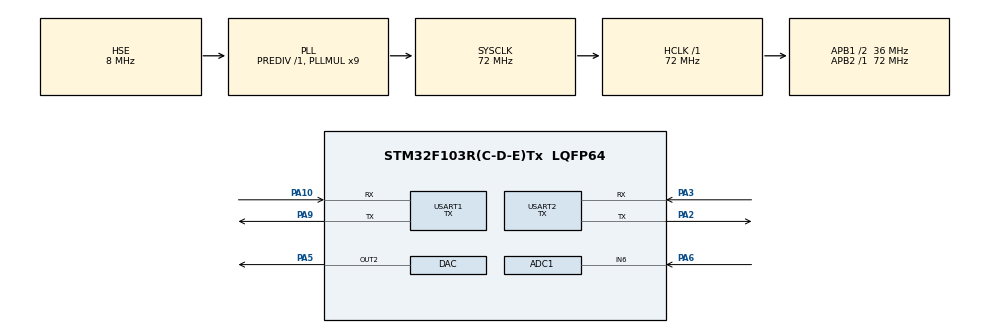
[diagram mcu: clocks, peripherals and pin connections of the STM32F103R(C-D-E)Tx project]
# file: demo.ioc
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ADC1.Channel-0\#ChannelRegularConversion=ADC_CHANNEL_6
ADC1.ContinuousConvMode=DISABLE
ADC1.NbrOfConversionFlag=1
ADC1.Rank-0\#ChannelRegularConversion=1
ADC1.SamplingTime-0\#ChannelRegularConversion=ADC_SAMPLETIME_55CYCLES_5
ADC1.master=1
DAC.DAC_Trigger2=DAC_TRIGGER_NONE
Mcu.Family=STM32F1
Mcu.Name=STM32F103R(C-D-E)Tx
Mcu.Package=LQFP64
NVIC.PriorityGroup=NVIC_PRIORITYGROUP_4
NVIC.USART1_IRQn=true\:0\:0\:false\:false\:true\:true\:true\:true
PA10.Mode=Asynchronous
PA10.Signal=USART1_RX
PA13.Mode=Serial_Wire
PA13.Signal=SYS_JTMS-SWDIO
PA14.Mode=Serial_Wire
PA14.Signal=SYS_JTCK-SWCLK
PA2.Mode=Asynchronous
PA2.Signal=USART2_TX
PA3.Mode=Asynchronous
PA3.Signal=USART2_RX
PA5.Signal=COMP_DAC2_group
PA6.Signal=ADCx_IN6
PA9.Mode=Asynchronous
PA9.Signal=USART1_TX
PD0-OSC_IN.Mode=HSE-External-Oscillator
PD0-OSC_IN.Signal=RCC_OSC_IN
PD1-OSC_OUT.Mode=HSE-External-Oscillator
PD1-OSC_OUT.Signal=RCC_OSC_OUT
ProjectManager.HeapSize=0x600
ProjectManager.StackSize=0x600
ProjectManager.TargetToolchain=MDK-ARM V5
RCC.ADCPresc=RCC_ADCPCLK2_DIV6
RCC.AHBFreq_Value=72000000
RCC.APB1CLKDivider=RCC_HCLK_DIV2
RCC.APB1Freq_Value=36000000
RCC.APB1TimFreq_Value=72000000
RCC.APB2Freq_Value=72000000
RCC.APB2TimFreq_Value=72000000
RCC.HCLKFreq_Value=72000000
RCC.PLLMUL=RCC_PLL_MUL9
RCC.PLLSourceVirtual=RCC_PLLSOURCE_HSE
RCC.SYSCLKFreq_VALUE=72000000
RCC.SYSCLKSource=RCC_SYSCLKSOURCE_PLLCLK
RCC.USBFreq_Value=72000000
SH.ADCx_IN6.0=ADC1_IN6,IN6
SH.COMP_DAC2_group.0=DAC_OUT2,DAC_OUT2
USART1.Mode=MODE_TX
USART1.VirtualMode=VM_ASYNC
USART2.Mode=MODE_TX
USART2.VirtualMode=VM_ASYNC
board=custom

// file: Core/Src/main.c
/* USER CODE BEGIN Header */
/**
 ******************************************************************************
 * @file           : main.c
 * @brief          : Main program body
 ******************************************************************************
 * @attention
 *
 * <h2><center>&copy; Copyright (c) 2022 STMicroelectronics.
 * All rights reserved.</center></h2>
 *
 * This software component is licensed by ST under BSD 3-Clause license,
 * the "License"; You may not use this file except in compliance with the
 * License. You may obtain a copy of the License at:
 *                        opensource.org/licenses/BSD-3-Clause
 *
 ******************************************************************************
 */
/* USER CODE END Header */
#include "main.h"
#include "adc.h"
#include "dac.h"
#include "gpio.h"
#include "usart.h"

/* USER CODE BEGIN Includes */
#include "arm_math.h"
#include "stdlib.h"
/* USER CODE END Includes */

void SystemClock_Config(void);

/* USER CODE BEGIN 0 */

#define F_COUNT 512
#define M 16

// 卡尔曼滤波
typedef struct KalmanFilter {
    float x_mea;  // 测量值
    float x_est;  // 估计值
    float e_mea;  // 测量偏差
    float e_est;  // 估计偏差
    float Kk;     // 增益
} KalmanFilter;

#define Kk_calc(x, y) (x) / (x + y)

// 初始化卡尔曼滤波器
void Kalman_Init(KalmanFilter* kalmanFilter, float FirstMeaValue, float E_mea, float FirstEstValue, float E_est) {
    kalmanFilter->x_est = FirstEstValue;
    kalmanFilter->x_mea = FirstMeaValue;
    kalmanFilter->e_est = E_est;
    kalmanFilter->e_mea = E_mea;
    kalmanFilter->Kk    = Kk_calc(kalmanFilter->e_est, kalmanFilter->e_mea);
}

// 更新卡尔曼滤波器
void Kalman_Update(KalmanFilter* kalmanFilter, float newMeaValue) {
    float temp          = kalmanFilter->e_est;
    kalmanFilter->x_est = kalmanFilter->x_est + kalmanFilter->Kk * (newMeaValue - kalmanFilter->x_est);
    kalmanFilter->x_mea = newMeaValue;
    kalmanFilter->Kk    = Kk_calc(kalmanFilter->e_est, kalmanFilter->e_mea);
    kalmanFilter->e_est = (1 - kalmanFilter->Kk) * temp;
}

float RandomNumGenerator(int base, int range) {
    float k         = 0.0;
    float randomNum = 0.0;
    k               = 2 * range * 10;
    randomNum       = rand() % (int)k;
    k               = base - range + (randomNum / 10);
    return k;
}

uint16_t read_adc() {
    HAL_ADC_Start(&hadc1);
    HAL_ADC_PollForConversion(&hadc1, 50);  // timeout = 50ms
    while (HAL_IS_BIT_CLR(HAL_ADC_GetState(&hadc1), HAL_ADC_STATE_REG_EOC)) {}
    return HAL_ADC_GetValue(&hadc1);
}

/* USER CODE END 0 */

int main(void) {

    /* MCU Configuration--------------------------------------------------------*/

    /* Reset of all peripherals, Initializes the Flash interface and the Systick. */
    HAL_Init();

    /* Configure the system clock */
    SystemClock_Config();

    /* Initialize all configured peripherals */
    MX_GPIO_Init();
    MX_USART1_UART_Init();
    MX_USART2_UART_Init();
    MX_ADC1_Init();
    MX_DAC_Init();
    /* USER CODE BEGIN 2 */

    HAL_DAC_SetValue(&hdac, DAC_CHANNEL_2, DAC_ALIGN_12B_R, 1024);
    HAL_DAC_Start(&hdac, DAC_CHANNEL_2);

    HAL_ADCEx_Calibration_Start(&hadc1);  // ADC 校准 (必要的)

    KalmanFilter k;
    Kalman_Init(&k, 1024, 2, 1024, 2);
    // 因为真实值在 DAC 输出值附近，所以设置初值为 1024，偏差为 2

    /* USER CODE END 2 */

    /* Infinite loop */
    /* USER CODE BEGIN WHILE */
    while (1) {
        uint16_t val = read_adc();
        Kalman_Update(&k, val);
        printf("%d	%f	%f\r\n", val, k.x_mea, k.x_est);
        HAL_Delay(100);
        /* USER CODE END WHILE */

    }
}

void SystemClock_Config(void) {
    RCC_OscInitTypeDef       RCC_OscInitStruct = {0};
    RCC_ClkInitTypeDef       RCC_ClkInitStruct = {0};
    RCC_PeriphCLKInitTypeDef PeriphClkInit     = {0};

    /** Initializes the RCC Oscillators according to the specified parameters
     * in the RCC_OscInitTypeDef structure.
     */
    RCC_OscInitStruct.OscillatorType = RCC_OSCILLATORTYPE_HSE;
    RCC_OscInitStruct.HSEState       = RCC_HSE_ON;
    RCC_OscInitStruct.HSEPredivValue = RCC_HSE_PREDIV_DIV1;
    RCC_OscInitStruct.HSIState       = RCC_HSI_ON;
    RCC_OscInitStruct.PLL.PLLState   = RCC_PLL_ON;
    RCC_OscInitStruct.PLL.PLLSource  = RCC_PLLSOURCE_HSE;
    RCC_OscInitStruct.PLL.PLLMUL     = RCC_PLL_MUL9;
    if (HAL_RCC_OscConfig(&RCC_OscInitStruct) != HAL_OK) {
        Error_Handler();
    }

    /** Initializes the CPU, AHB and APB buses clocks
     */
    RCC_ClkInitStruct.ClockType      = RCC_CLOCKTYPE_HCLK | RCC_CLOCKTYPE_SYSCLK | RCC_CLOCKTYPE_PCLK1 | RCC_CLOCKTYPE_PCLK2;
    RCC_ClkInitStruct.SYSCLKSource   = RCC_SYSCLKSOURCE_PLLCLK;
    RCC_ClkInitStruct.AHBCLKDivider  = RCC_SYSCLK_DIV1;
    RCC_ClkInitStruct.APB1CLKDivider = RCC_HCLK_DIV2;
    RCC_ClkInitStruct.APB2CLKDivider = RCC_HCLK_DIV1;

    if (HAL_RCC_ClockConfig(&RCC_ClkInitStruct, FLASH_LATENCY_2) != HAL_OK) {
        Error_Handler();
    }
    PeriphClkInit.PeriphClockSelection = RCC_PERIPHCLK_ADC;
    PeriphClkInit.AdcClockSelection    = RCC_ADCPCLK2_DIV6;
    if (HAL_RCCEx_PeriphCLKConfig(&PeriphClkInit) != HAL_OK) {
        Error_Handler();
    }
}

void Error_Handler(void) {
}
